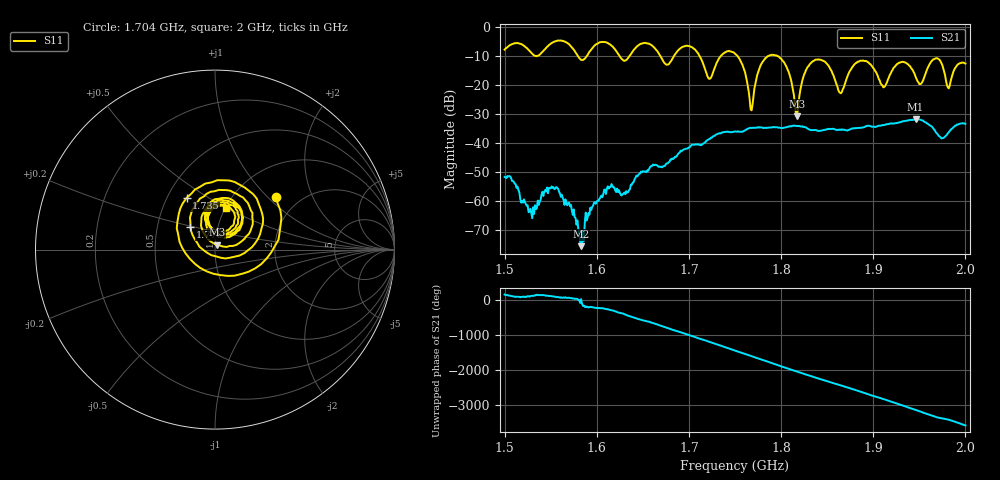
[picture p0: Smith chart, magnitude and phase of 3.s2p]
! NanoVNA-App by SYSJOINT et al v1.1.209 (+OD18)
! Date: 2026-01-21 14:48:52
! Start: 1,5GHz Stop: 2GHz Points: 501
! S-Parameter data: F S11 S21 S12 S22
# Hz S RI R 50
!  Frequency  S11_Real  S11_Imag  S21_Real  S21_Imag  S12_Real  S12_Imag  S22_Real  S22_Imag
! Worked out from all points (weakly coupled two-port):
!   501 points, 1.5 GHz to 2 GHz, reference 50 ohm
!   highest |S21| = -31.68 dB at 1.946 GHz (marker M1); lowest = -75.4 dB at 1.583 GHz (marker M2)
!   lowest |S11| = -30.6 dB at 1.817 GHz (marker M3), VSWR 1.06, Z = 50.9 + j2.83 ohm
!   |S11| at or under -10 dB: 1.712 GHz to 1.734 GHz (22.34 MHz wide, 1.3 % of centre); 1.753 GHz to 1.785 GHz (32.06 MHz wide, 1.81 % of centre); 1.797 GHz to end of sweep (the widest 3 of 6)
!   S12 and S22 are empty: the file has one direction only
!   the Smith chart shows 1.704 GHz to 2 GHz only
!   S11 on the Smith chart (normalised r, x): 1.704 GHz: 1.52, +1.13; 1.735 GHz: 0.63, +0.40; 1.776 GHz: 0.74, +0.19; 2 GHz: 1.01, +0.49
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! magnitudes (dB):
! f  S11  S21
! 1.5 GHz  -7.6  -51.6
! 1.528 GHz  -8.4  -62.5
! 1.557 GHz  -4.6  -55.3
! 1.583 GHz  -11.2  -75.4
! 1.584 GHz  -11.2  -74.9
! 1.61 GHz  -5.1  -57.4
! 1.667 GHz  -8.8  -48.1
! 1.704 GHz  -6.9  -40.4
! 1.722 GHz  -17.7  -38.5
! 1.735 GHz  -9.7  -36.4
! 1.75 GHz  -9.0  -35.8
! 1.768 GHz  -28.6  -34.7
! 1.776 GHz  -14.6  -34.5
! 1.8 GHz  -10.7  -34.7
! 1.817 GHz  -30.6  -33.9
! 1.834 GHz  -11.7  -35.4
! 1.864 GHz  -22.5  -35.2
! 1.885 GHz  -11.6  -34.7
! 1.917 GHz  -17.2  -33.3
! 1.946 GHz  -17.0  -31.7
! 1.982 GHz  -21.0  -36.2
! 2 GHz  -12.4  -33.3
